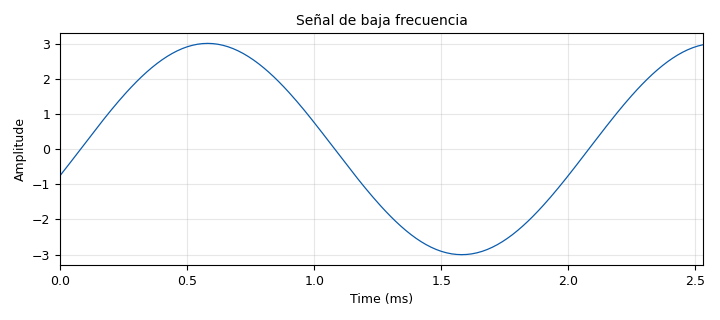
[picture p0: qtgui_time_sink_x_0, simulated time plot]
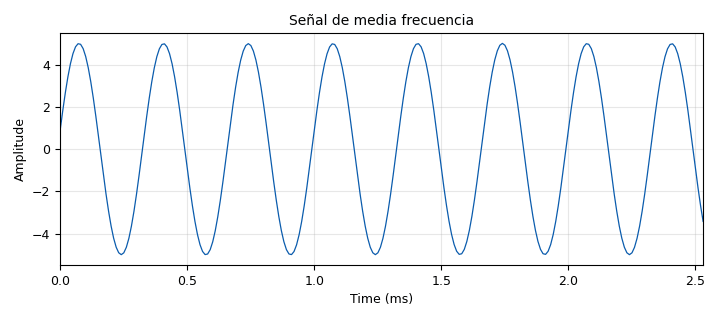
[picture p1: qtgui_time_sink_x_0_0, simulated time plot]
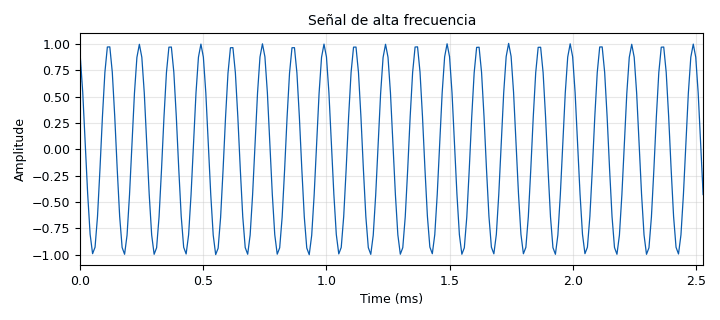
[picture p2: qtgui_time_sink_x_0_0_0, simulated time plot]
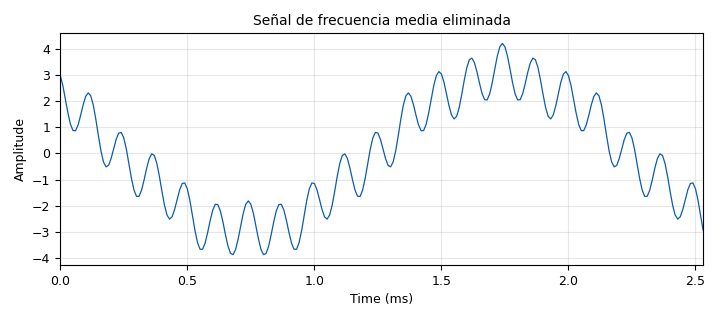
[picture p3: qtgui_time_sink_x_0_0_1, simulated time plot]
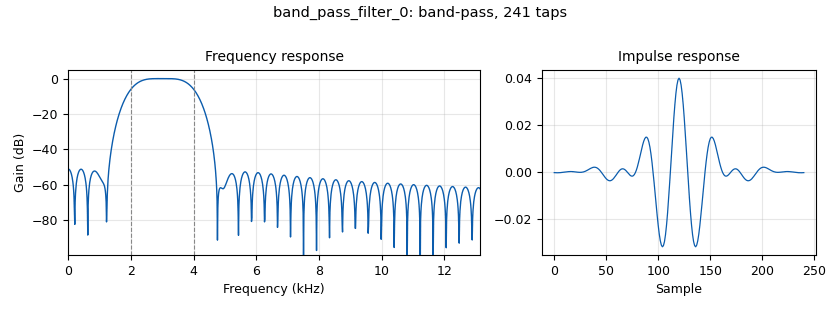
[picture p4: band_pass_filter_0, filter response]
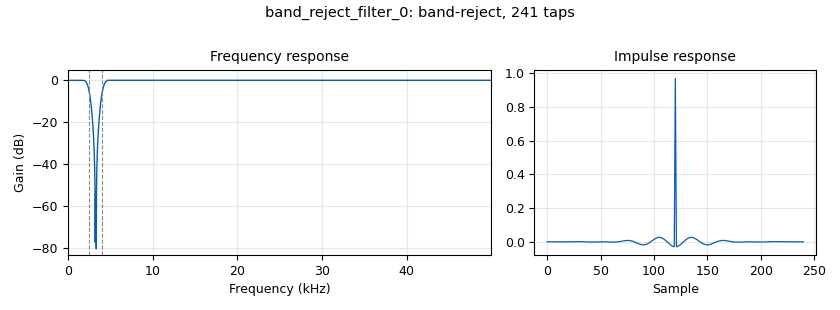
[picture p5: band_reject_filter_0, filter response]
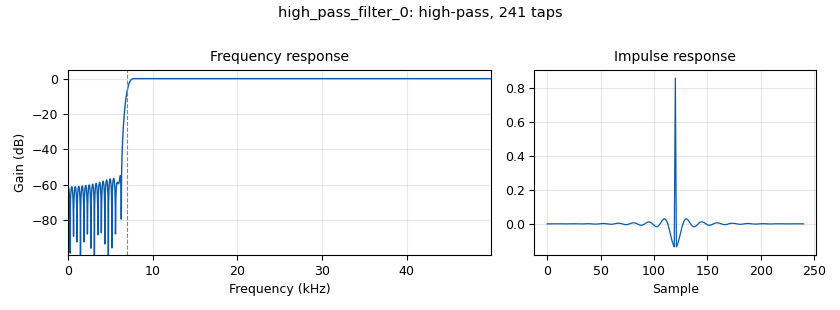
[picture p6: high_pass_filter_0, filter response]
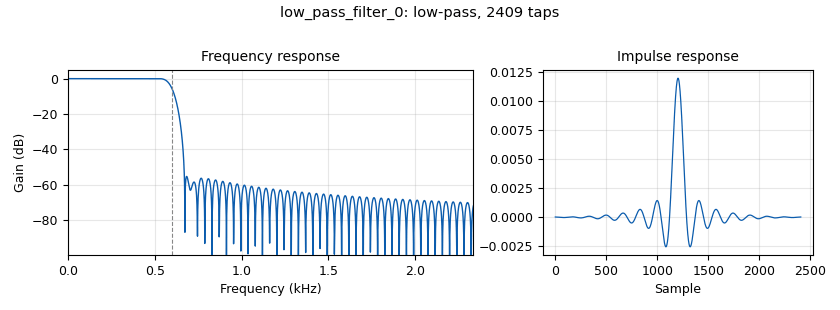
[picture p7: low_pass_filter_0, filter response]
options:
  parameters:
    author: Juan David Barrero
    description: En esta parte se veran los tipos filtros que se pueden tener
    generate_options: qt_gui
    id: Filters
    output_language: python
    title: Filtros
  states: {}

blocks:
- name: samp_rate
  id: variable
  parameters:
    value: 100e3
  states: {}
- name: analog_sig_source_x_0
  id: analog_sig_source_x
  parameters:
    amp: '3'
    freq: '500'
    offset: '0'
    phase: '0'
    samp_rate: samp_rate
    type: float
    waveform: analog.GR_COS_WAVE
  states: {}
- name: analog_sig_source_x_0_0
  id: analog_sig_source_x
  parameters:
    amp: '5'
    freq: '3000'
    offset: '0'
    phase: '0'
    samp_rate: samp_rate
    type: float
    waveform: analog.GR_COS_WAVE
  states: {}
- name: analog_sig_source_x_0_0_0
  id: analog_sig_source_x
  parameters:
    amp: '1'
    freq: 8e3
    offset: '0'
    phase: '0'
    samp_rate: samp_rate
    type: float
    waveform: analog.GR_COS_WAVE
  states: {}
- name: band_pass_filter_0
  id: band_pass_filter
  parameters:
    comment: |-
      El filtro pasa banda permite selecionar el rango 
      de frecuncia que se desea filtrar
    decim: '1'
    gain: '1'
    high_cutoff_freq: 4e3
    low_cutoff_freq: 2e3
    samp_rate: samp_rate
    type: fir_filter_fff
    width: 1e3
    win: firdes.WIN_HAMMING
  states: {}
- name: band_reject_filter_0
  id: band_reject_filter
  parameters:
    comment: Solo evita que pase un determinado ranfo de la frecuencia
    decim: '1'
    gain: '1'
    high_cutoff_freq: 4e3
    low_cutoff_freq: 2.5e3
    samp_rate: samp_rate
    type: fir_filter_fff
    width: 1e3
    win: firdes.WIN_HAMMING
  states: {}
- name: blocks_add_xx_0
  id: blocks_add_xx
  parameters:
    num_inputs: '3'
    type: float
  states: {}
- name: blocks_throttle_0
  id: blocks_throttle
  parameters:
    samples_per_second: samp_rate
    type: float
  states: {}
- name: high_pass_filter_0
  id: high_pass_filter
  parameters:
    comment: Este permite recuperar la señal de más alta frecuancia
    cutoff_freq: 7e3
    decim: '1'
    gain: '1'
    samp_rate: samp_rate
    type: fir_filter_fff
    width: 1e3
    win: firdes.WIN_HAMMING
  states: {}
- name: low_pass_filter_0
  id: low_pass_filter
  parameters:
    comment: Con este filtro se puede recuperar la señal de baja frecuencia
    cutoff_freq: '600'
    gain: '1'
    interp: '1'
    samp_rate: samp_rate
    type: interp_fir_filter_fff
    width: '100'
    win: firdes.WIN_HAMMING
  states: {}
- name: note_0
  id: note
  parameters:
    note: 'En esta parte se realizar la suma de todas las señales de bloques '
  states: {}
- name: qtgui_time_sink_x_0
  id: qtgui_time_sink_x
  parameters:
    autoscale: 'True'
    name: '"Señal de baja frecuencia"'
    size: '254'
    srate: samp_rate
    type: float
  states: {}
- name: qtgui_time_sink_x_0_0
  id: qtgui_time_sink_x
  parameters:
    autoscale: 'True'
    name: '"Señal de media frecuencia"'
    size: '254'
    srate: samp_rate
    type: float
  states: {}
- name: qtgui_time_sink_x_0_0_0
  id: qtgui_time_sink_x
  parameters:
    autoscale: 'True'
    name: '"Señal de alta frecuencia"'
    size: '254'
    srate: samp_rate
    type: float
  states: {}
- name: qtgui_time_sink_x_0_0_1
  id: qtgui_time_sink_x
  parameters:
    autoscale: 'True'
    name: '"Señal de frecuencia media eliminada"'
    size: '254'
    srate: samp_rate
    type: float
  states: {}

connections:
- [analog_sig_source_x_0, '0', blocks_add_xx_0, '0']
- [analog_sig_source_x_0_0, '0', blocks_add_xx_0, '1']
- [analog_sig_source_x_0_0_0, '0', blocks_add_xx_0, '2']
- [band_pass_filter_0, '0', qtgui_time_sink_x_0_0, '0']
- [band_reject_filter_0, '0', qtgui_time_sink_x_0_0_1, '0']
- [blocks_add_xx_0, '0', blocks_throttle_0, '0']
- [blocks_throttle_0, '0', band_pass_filter_0, '0']
- [blocks_throttle_0, '0', band_reject_filter_0, '0']
- [blocks_throttle_0, '0', high_pass_filter_0, '0']
- [blocks_throttle_0, '0', low_pass_filter_0, '0']
- [high_pass_filter_0, '0', qtgui_time_sink_x_0_0_0, '0']
- [low_pass_filter_0, '0', qtgui_time_sink_x_0, '0']

metadata:
  file_format: 1
